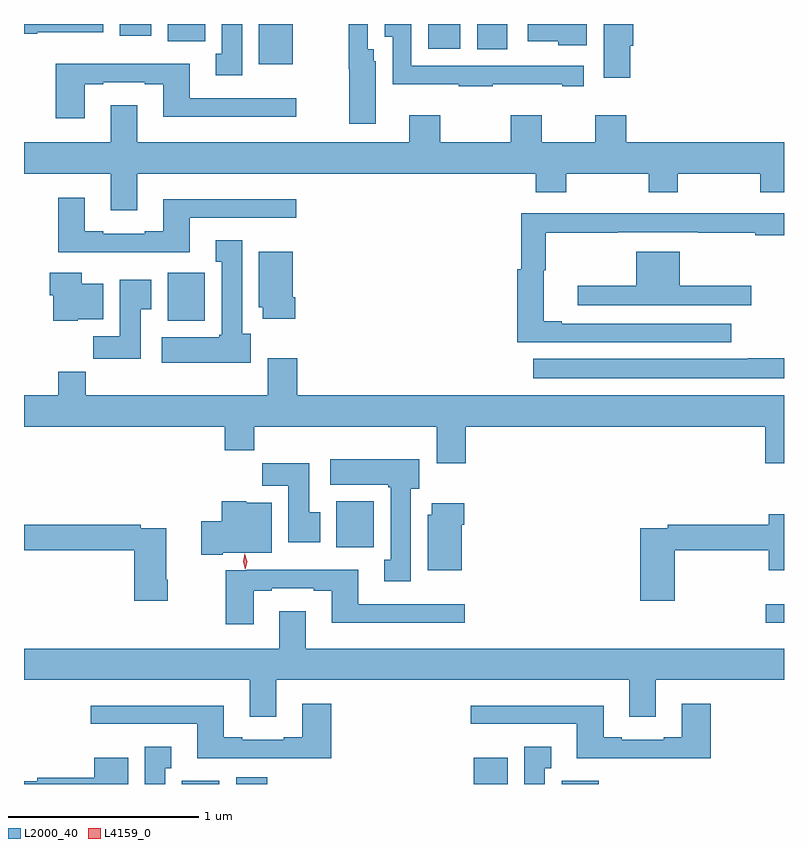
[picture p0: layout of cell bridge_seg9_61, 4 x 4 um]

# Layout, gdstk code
import gdstk
lib = gdstk.Library(unit=1e-6, precision=1e-09)
def R(c, l, rs):  # rectangles x0, y0, x1, y1
    for r in rs: c.add(gdstk.rectangle(r[:2], r[2:], *l))
def P(c, l, *ps):  # polygons
    for p in ps: c.add(gdstk.Polygon(p, *l))
L2000_40 = (2000, 40)
L4159_0 = (4159, 0)

bridge_seg9_61 = lib.new_cell('bridge_seg9_61')
R(bridge_seg9_61, L2000_40, [(1089.104,1206.527,1089.301,1206.544), (1089.389,1206.527,1089.553,1206.562), (1090.64,1206.527,1090.819,1206.664), (1091.102,1206.527,1091.299,1206.544), (1092.177,1207.376,1092.273,1207.473), (1089.917,1207.772,1090.114,1208.014), (1089.029,1208.966,1089.225,1209.217), (1089.509,1210.316,1089.688,1210.527), (1090.658,1210.393,1090.816,1210.527), (1090.4,1210.397,1090.57,1210.527), (1089.029,1210.436,1089.226,1210.527), (1088.777,1210.464,1088.944,1210.527)])
P(bridge_seg9_61, L2000_40, [(1091.465,1210.413),(1091.48,1210.413),(1091.48,1210.527),(1091.324,1210.527),(1091.324,1210.245),(1091.465,1210.245)],
  [(1090.123,1210.332),(1090.114,1210.332),(1090.114,1210.393),(1090.083,1210.393),(1090.083,1210.527),(1089.982,1210.527),(1089.982,1210.289),(1089.986,1210.289),(1089.986,1210.002),(1090.123,1210.002)],
  [(1089.421,1210.527),(1089.314,1210.527),(1089.314,1210.37),(1089.281,1210.37),(1089.281,1210.257),(1089.421,1210.257)],
  [(1090.739,1210.211),(1091.105,1210.211),(1091.105,1210.2),(1091.218,1210.2),(1091.218,1210.308),(1090.311,1210.308),(1090.311,1210.527),(1090.172,1210.527),(1090.172,1210.46),(1090.215,1210.46),(1090.215,1210.211),(1090.561,1210.211),(1090.561,1210.2),(1090.739,1210.2)],
  [(1091.236,1210.527),(1090.923,1210.527),(1090.923,1210.436),(1091.085,1210.436),(1091.085,1210.415),(1091.236,1210.415)],
  [(1088.342,1210.484),(1088.689,1210.484),(1088.689,1210.527),(1088.273,1210.527),(1088.273,1210.477),(1088.342,1210.477)],
  [(1088.593,1210.209),(1088.689,1210.209),(1088.689,1210.221),(1088.909,1210.221),(1088.909,1210.209),(1089.005,1210.209),(1089.005,1210.04),(1089.706,1210.04),(1089.706,1210.137),(1089.145,1210.137),(1089.145,1210.318),(1088.441,1210.318),(1088.441,1210.032),(1088.593,1210.032)],
  [(1090.967,1209.641),(1091.127,1209.641),(1091.127,1209.74),(1091.56,1209.74),(1091.56,1209.641),(1091.715,1209.641),(1091.715,1209.74),(1092.148,1209.74),(1092.148,1209.641),(1092.273,1209.641),(1092.273,1209.904),(1091.443,1209.904),(1091.443,1210.048),(1091.279,1210.048),(1091.279,1209.904),(1090.999,1209.904),(1090.999,1210.048),(1090.835,1210.048),(1090.835,1209.904),(1090.465,1209.904),(1090.465,1210.048),(1090.301,1210.048),(1090.301,1209.904),(1088.869,1209.904),(1088.869,1210.099),(1088.729,1210.099),(1088.729,1209.904),(1088.273,1209.904),(1088.273,1209.74),(1088.729,1209.74),(1088.729,1209.546),(1088.869,1209.546),(1088.869,1209.74),(1090.967,1209.74)],
  [(1089.145,1209.507),(1089.706,1209.507),(1089.706,1209.604),(1089.005,1209.604),(1089.005,1209.436),(1088.909,1209.436),(1088.909,1209.423),(1088.689,1209.423),(1088.689,1209.436),(1088.593,1209.436),(1088.593,1209.613),(1088.453,1209.613),(1088.453,1209.326),(1089.145,1209.326)],
  [(1091.995,1208.949),(1091.104,1208.949),(1091.104,1208.962),(1091.008,1208.962),(1091.008,1209.231),(1091.02,1209.231),(1091.02,1209.429),(1091.399,1209.429),(1091.399,1209.431),(1091.821,1209.431),(1091.821,1209.429),(1092.121,1209.429),(1092.121,1209.414),(1092.273,1209.414),(1092.273,1209.532),(1090.891,1209.532),(1090.891,1209.235),(1090.868,1209.235),(1090.868,1208.853),(1091.995,1208.853)],
  [(1089.466,1208.898),(1089.421,1208.898),(1089.421,1209.388),(1089.281,1209.388),(1089.281,1209.275),(1089.314,1209.275),(1089.314,1208.892),(1089.301,1208.892),(1089.301,1208.878),(1088.997,1208.878),(1088.997,1208.744),(1089.466,1208.744)],
  [(1092.1,1209.149),(1091.725,1209.149),(1091.725,1209.328),(1091.495,1209.328),(1091.495,1209.149),(1091.187,1209.149),(1091.187,1209.048),(1092.1,1209.048)],
  [(1089.701,1209.088),(1089.688,1209.088),(1089.688,1209.328),(1089.509,1209.328),(1089.509,1209.036),(1089.53,1209.036),(1089.53,1208.976),(1089.701,1208.976)],
  [(1088.556,1208.972),(1088.689,1208.972),(1088.689,1209.16),(1088.578,1209.16),(1088.578,1209.217),(1088.408,1209.217),(1088.408,1209.099),(1088.426,1209.099),(1088.426,1208.966),(1088.556,1208.966)],
  [(1088.887,1209.025),(1088.944,1209.025),(1088.944,1209.181),(1088.777,1209.181),(1088.777,1208.884),(1088.638,1208.884),(1088.638,1208.766),(1088.887,1208.766)],
  [(1092.273,1208.767),(1092.082,1208.767),(1092.082,1208.764),(1090.953,1208.764),(1090.953,1208.663),(1092.273,1208.663)],
  [(1090.598,1208.408),(1092.173,1208.408),(1092.173,1208.214),(1092.273,1208.214),(1092.273,1208.572),(1089.71,1208.572),(1089.71,1208.767),(1089.557,1208.767),(1089.557,1208.572),(1088.597,1208.572),(1088.597,1208.696),(1088.453,1208.696),(1088.453,1208.572),(1088.273,1208.572),(1088.273,1208.408),(1089.329,1208.408),(1089.329,1208.284),(1089.485,1208.284),(1089.485,1208.408),(1090.445,1208.408),(1090.445,1208.214),(1090.598,1208.214)],
  [(1090.309,1208.082),(1090.354,1208.082),(1090.354,1208.236),(1089.885,1208.236),(1089.885,1208.102),(1090.189,1208.102),(1090.189,1208.089),(1090.202,1208.089),(1090.202,1207.706),(1090.169,1207.706),(1090.169,1207.593),(1090.309,1207.593)],
  [(1089.832,1207.956),(1089.775,1207.956),(1089.775,1208.215),(1089.526,1208.215),(1089.526,1208.096),(1089.665,1208.096),(1089.665,1207.8),(1089.832,1207.8)],
  [(1089.319,1207.745),(1089.577,1207.745),(1089.577,1208.008),(1089.444,1208.008),(1089.444,1208.014),(1089.314,1208.014),(1089.314,1207.911),(1089.207,1207.911),(1089.207,1207.733),(1089.319,1207.733)],
  [(1090.576,1207.892),(1090.589,1207.892),(1090.589,1208.005),(1090.418,1208.005),(1090.418,1207.944),(1090.397,1207.944),(1090.397,1207.652),(1090.576,1207.652)],
  [(1091.699,1207.756),(1092.194,1207.756),(1092.194,1207.652),(1092.273,1207.652),(1092.273,1207.948),(1092.194,1207.948),(1092.194,1207.892),(1091.662,1207.892),(1091.662,1207.872),(1091.516,1207.872),(1091.516,1207.491),(1091.699,1207.491)],
  [(1089.03,1207.603),(1089.022,1207.603),(1089.022,1207.872),(1088.888,1207.872),(1088.888,1207.892),(1088.273,1207.892),(1088.273,1207.756),(1088.852,1207.756),(1088.852,1207.491),(1089.03,1207.491)],
  [(1089.481,1207.545),(1089.577,1207.545),(1089.577,1207.557),(1089.797,1207.557),(1089.797,1207.545),(1089.893,1207.545),(1089.893,1207.376),(1090.594,1207.376),(1090.594,1207.473),(1090.033,1207.473),(1090.033,1207.654),(1089.445,1207.654),(1089.445,1207.653),(1089.334,1207.653),(1089.334,1207.368),(1089.481,1207.368)],
  [(1089.601,1207.076),(1091.459,1207.076),(1091.459,1206.882),(1091.599,1206.882),(1091.599,1207.076),(1092.273,1207.076),(1092.273,1207.24),(1089.757,1207.24),(1089.757,1207.435),(1089.617,1207.435),(1089.617,1207.24),(1088.273,1207.24),(1088.273,1207.076),(1089.461,1207.076),(1089.461,1206.882),(1089.601,1206.882)],
  [(1091.888,1206.949),(1091.735,1206.949),(1091.735,1206.772),(1091.639,1206.772),(1091.639,1206.759),(1091.419,1206.759),(1091.419,1206.772),(1091.323,1206.772),(1091.323,1206.94),(1090.623,1206.94),(1090.623,1206.843),(1091.183,1206.843),(1091.183,1206.662),(1091.888,1206.662)],
  [(1089.89,1206.949),(1089.737,1206.949),(1089.737,1206.772),(1089.641,1206.772),(1089.641,1206.759),(1089.421,1206.759),(1089.421,1206.772),(1089.325,1206.772),(1089.325,1206.94),(1088.625,1206.94),(1088.625,1206.843),(1089.185,1206.843),(1089.185,1206.663),(1089.645,1206.663),(1089.645,1206.662),(1089.89,1206.662)],
  [(1091.014,1206.611),(1091.047,1206.611),(1091.047,1206.724),(1090.907,1206.724),(1090.907,1206.527),(1091.014,1206.527)],
  [(1089.016,1206.611),(1089.049,1206.611),(1089.049,1206.724),(1088.909,1206.724),(1088.909,1206.527),(1089.016,1206.527)],
  [(1088.821,1206.664),(1088.642,1206.664),(1088.642,1206.56),(1088.344,1206.56),(1088.344,1206.541),(1088.273,1206.541),(1088.273,1206.527),(1088.821,1206.527)])
P(bridge_seg9_61, L4159_0, [(1089.437,1207.656),(1089.437,1207.656),(1089.427,1207.697),(1089.436,1207.738),(1089.436,1207.738),(1089.436,1207.738),(1089.447,1207.697),(1089.437,1207.656)])

lib.write_gds('bridge_seg9_61.gds')
